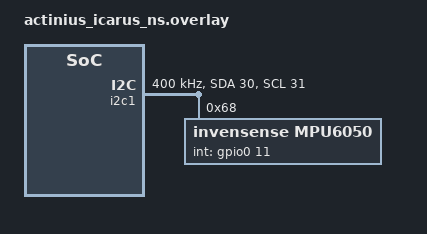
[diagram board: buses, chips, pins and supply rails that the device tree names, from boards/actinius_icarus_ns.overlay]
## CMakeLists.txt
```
#
# Copyright (c) 2018 Nordic Semiconductor
#
# SPDX-License-Identifier: LicenseRef-Nordic-5-Clause
#

cmake_minimum_required(VERSION 3.13.1)

set(spm_DTC_OVERLAY_FILE "${CMAKE_CURRENT_SOURCE_DIR}/spm.overlay")

find_package(Zephyr REQUIRED HINTS $ENV{ZEPHYR_BASE})
project(lwm2m_client)
zephyr_compile_definitions(PROJECT_NAME=${PROJECT_NAME})

# NORDIC SDK APP START
target_sources(app PRIVATE src/main.c)
target_sources(app PRIVATE src/settings.c)
zephyr_include_directories(src)
# NORDIC SDK APP END

# Include application events and configuration headers
zephyr_library_include_directories(
  src/lwm2m
  src/ui
  )

# Application sources
add_subdirectory(src/lwm2m)
add_subdirectory(src/ui)
```

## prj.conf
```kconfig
# General config
CONFIG_NEWLIB_LIBC=y
CONFIG_ASSERT=y
CONFIG_REBOOT=y

# Network
CONFIG_NETWORKING=y
CONFIG_NET_NATIVE=n
CONFIG_NET_IPV6=n
CONFIG_NET_IPV4=y
CONFIG_NET_SOCKETS=y
CONFIG_NET_SOCKETS_OFFLOAD=y

# LwM2M
CONFIG_LWM2M=y
CONFIG_LWM2M_DNS_SUPPORT=y
CONFIG_LWM2M_RW_JSON_SUPPORT=n
CONFIG_LWM2M_SERVER_DEFAULT_PMIN=1
CONFIG_LWM2M_SERVER_DEFAULT_PMAX=300
CONFIG_LWM2M_CONN_MON_OBJ_SUPPORT=y
CONFIG_LWM2M_CONN_MON_BEARER_MAX=2
CONFIG_LWM2M_FIRMWARE_UPDATE_OBJ_SUPPORT=y
CONFIG_LWM2M_LOCATION_OBJ_SUPPORT=y
CONFIG_LWM2M_IPSO_SUPPORT=y
CONFIG_LWM2M_IPSO_TEMP_SENSOR=y
CONFIG_LWM2M_IPSO_LIGHT_CONTROL=y
CONFIG_LWM2M_IPSO_BUZZER=y
CONFIG_LWM2M_IPSO_ONOFF_SWITCH=y
CONFIG_LWM2M_IPSO_ONOFF_SWITCH_INSTANCE_COUNT=2
CONFIG_LWM2M_IPSO_PUSH_BUTTON=y
CONFIG_LWM2M_IPSO_PUSH_BUTTON_INSTANCE_COUNT=2
CONFIG_LWM2M_IPSO_ACCELEROMETER=y
CONFIG_LWM2M_IPSO_TIMESTAMP_EXTENSIONS=y

# DTLS settings
CONFIG_LWM2M_DTLS_SUPPORT=n
CONFIG_LWM2M_PEER_PORT=5683

# nRF9160 helper libraries
CONFIG_MODEM_KEY_MGMT=y

# Default app to debug logging
CONFIG_LOG=y
CONFIG_APP_LOG_LEVEL_DBG=y

# Expand logging memory to avoid log_strdup() errors
CONFIG_LOG_STRDUP_MAX_STRING=64
CONFIG_LOG_STRDUP_BUF_COUNT=32

# Support HEX style PSK values (double the size + NULL char)
CONFIG_LWM2M_SECURITY_KEY_SIZE=33

# extend CoAP retry timing to 10 seconds for LTE/LTE-M
CONFIG_COAP_INIT_ACK_TIMEOUT_MS=10000

# Enable CoAP extended option length
CONFIG_COAP_EXTENDED_OPTIONS_LEN=y
CONFIG_COAP_EXTENDED_OPTIONS_LEN_VALUE=40

# UI settings
CONFIG_UI_BUTTON=n
CONFIG_UI_BUZZER=n

# FOTA
CONFIG_DFU_TARGET=y
CONFIG_BOOTLOADER_MCUBOOT=y
CONFIG_IMG_MANAGER=y
CONFIG_MCUBOOT_IMG_MANAGER=y
CONFIG_IMG_ERASE_PROGRESSIVELY=y
CONFIG_FLASH=y
CONFIG_MPU_ALLOW_FLASH_WRITE=y

# Enable temp sensor
CONFIG_SENSOR=n
# TODO: No DIE temp sensor on nRF9150, select a temp sensor?
# CONFIG_TEMP_NRF5=y

# Enable settings storage
CONFIG_SETTINGS=y
CONFIG_FCB=y
CONFIG_SETTINGS_FCB=y

# LTE link control
CONFIG_LTE_LINK_CONTROL=y
CONFIG_LTE_AUTO_INIT_AND_CONNECT=n
CONFIG_LTE_NETWORK_MODE_NBIOT=y
#CONFIG_LTE_NETWORK_MODE_LTE_M=y
#CONFIG_LTE_NETWORK_MODE_NBIOT_GPS=y
#CONFIG_LTE_NETWORK_MODE_LTE_M_GPS=y
CONFIG_LTE_NETWORK_USE_FALLBACK=y
CONFIG_LTE_NETWORK_TIMEOUT=600
CONFIG_LTE_PDP_CMD=y
CONFIG_LTE_PDP_CONTEXT="0,\"IP\",\"m2m.tag.com\""
CONFIG_LTE_LEGACY_PCO_MODE=y

# Modem library
CONFIG_NRF_MODEM_LIB=y

# Modem info
CONFIG_MODEM_INFO=y
CONFIG_MODEM_INFO_ADD_DATE_TIME=n

# Library for buttons and LEDs
CONFIG_DK_LIBRARY=y
CONFIG_DK_LIBRARY_INVERT_LEDS=n

# Enable shell
CONFIG_NET_SHELL=y

# Heap and stacks
CONFIG_HEAP_MEM_POOL_SIZE=16384
CONFIG_MAIN_STACK_SIZE=8192
CONFIG_SYSTEM_WORKQUEUE_STACK_SIZE=4096

# Temporarily disable CC310 entropy driver
CONFIG_ENTROPY_CC3XX=n
CONFIG_TEST_RANDOM_GENERATOR=y

##############################################

#Cumulocity Staging w/o SEC
CONFIG_APP_LWM2M_SERVER="lwm2m-s1.iotstg.a1.digital"
CONFIG_LWM2M_PEER_PORT=5783
CONFIG_LWM2M_ENGINE_DEFAULT_LIFETIME=30

#MPU6050
CONFIG_SENSOR=y
CONFIG_MPU6050=y
CONFIG_MPU6050_TRIGGER_NONE=y
CONFIG_SENSOR_LOG_LEVEL_WRN=y
CONFIG_I2C_1=y
CONFIG_I2C=y

#DSP
CONFIG_CMSIS_DSP=y
CONFIG_CMSIS_DSP_TABLES_ALL_FFT=y
CONFIG_CMSIS_DSP_TRANSFORM=y
CONFIG_CMSIS_DSP_STATISTICS=y
CONFIG_CMSIS_DSP_COMPLEXMATH=y
CONFIG_FPU=y

#PRINT FLOAT
CONFIG_NEWLIB_LIBC_FLOAT_PRINTF=y

#GPIO
CONFIG_GPIO=y

#Timers
#CONFIG_NRFX_TIMER0=y
#CONFIG_NRFX_TIMER1=y
```

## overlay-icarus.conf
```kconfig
#Icarus SIM select
CONFIG_BOARD_SELECT_SIM_EXTERNAL=y
```

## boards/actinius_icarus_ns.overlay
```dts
&i2c2 {
	status = "disabled";
};
&i2c1 {
	compatible = "nordic,nrf-twim";
	status = "okay";
	sda-pin = <30>;                
    scl-pin = <31>;
	clock-frequency = <400000>;
	mpu6050@68 {
		compatible = "invensense,mpu6050";
		reg = <0x68>;
		status = "okay";
		label = "MPU6050";
		int-gpios = <&gpio0 11 GPIO_ACTIVE_HIGH>;
	};
};
&uart1 {
	status = "disabled";
};
```

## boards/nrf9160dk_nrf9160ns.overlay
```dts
&i2c1 {
	compatible = "nordic,nrf-twim";
	status = "okay";
	sda-pin = <0>;                
    scl-pin = <1>;
	clock-frequency = <100000>;
	mpu6050@68 {
		compatible = "invensense,mpu6050";
		reg = <0x68>;
		status = "okay";
		label = "MPU6050";
		int-gpios = <&gpio0 11 GPIO_ACTIVE_HIGH>;
	};
};
```

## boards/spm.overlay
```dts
&uart1 {
	status = "disabled";
};
```

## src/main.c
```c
/*
 * Copyright (c) 2019 Nordic Semiconductor ASA
 *
 * SPDX-License-Identifier: LicenseRef-Nordic-5-Clause
 */

#include <zephyr.h>
#include <ctype.h>
#include <drivers/gpio.h>
#include <stdio.h>
#include <net/lwm2m.h>
#include <modem/nrf_modem_lib.h>
#include <settings/settings.h>

#include <logging/log.h>
LOG_MODULE_REGISTER(app_lwm2m_client, CONFIG_APP_LOG_LEVEL);

#include <modem/at_cmd.h>
#include <modem/lte_lc.h>

#if defined(CONFIG_LWM2M_DTLS_SUPPORT)
#if defined(CONFIG_MODEM_KEY_MGMT)
#include <modem/modem_key_mgmt.h>
#endif
#endif

#include "ui.h"
#include "lwm2m_client.h"
#include "settings.h"

#if defined (CONFIG_MPU6050)
/*Fill Level*/
#include "algorithm.h"
/*new thread*/
#define MT_THREAD_STACK_SIZE 4096
#define MT_PRIORITY 5
K_THREAD_STACK_DEFINE(mt_stack_area, MT_THREAD_STACK_SIZE);
static struct k_work_q mt_work_q;
#endif

#if !defined(CONFIG_LTE_LINK_CONTROL)
#error "Missing CONFIG_LTE_LINK_CONTROL"
#endif

BUILD_ASSERT(sizeof(CONFIG_APP_LWM2M_SERVER) > 1,
		 "CONFIG_APP_LWM2M_SERVER must be set in prj.conf");

#define APP_BANNER "Run LWM2M client"

#define IMEI_LEN		15
#define ENDPOINT_NAME_LEN	(IMEI_LEN + 8)

#define LWM2M_SECURITY_PRE_SHARED_KEY 0
#define LWM2M_SECURITY_RAW_PUBLIC_KEY 1
#define LWM2M_SECURITY_CERTIFICATE 2
#define LWM2M_SECURITY_NO_SEC 3

static uint8_t endpoint_name[ENDPOINT_NAME_LEN+1];
static uint8_t imei_buf[IMEI_LEN + 5]; /* account for /n/r */
static struct lwm2m_ctx client;

#if defined(CONFIG_LWM2M_DTLS_SUPPORT)
#include "config.h"
#endif /* CONFIG_LWM2M_DTLS_SUPPORT */

static struct k_sem lwm2m_restart;

static void rd_client_event(struct lwm2m_ctx *client,
			    enum lwm2m_rd_client_event client_event);

void client_acknowledge(void)
{
	lwm2m_acknowledge(&client);
}

/**@brief User interface event handler. */
static void ui_evt_handler(struct ui_evt *evt)
{
	if (!evt) {
		return;
	}

	LOG_DBG("Event: %d", evt->button);

#if defined(CONFIG_UI_BUTTON)
	if (handle_button_events(evt) == 0) {
		return;
	}
#endif
#if defined(CONFIG_LWM2M_IPSO_ACCELEROMETER) && CONFIG_FLIP_INPUT > 0
	if (handle_accel_events(evt) == 0) {
		return;
	}
#endif
}

static int remove_whitespace(char *buf)
{
	size_t i, j = 0, len;

	len = strlen(buf);
	for (i = 0; i < len; i++) {
		if (buf[i] >= 32 && buf[i] <= 126) {
			if (j != i) {
				buf[j] = buf[i];
			}

			j++;
		}
	}

	if (j < len) {
		buf[j] = '\0';
	}

	return 0;
}

static int query_modem(const char *cmd, char *buf, size_t buf_len)
{
	int ret;
	enum at_cmd_state at_state;

	ret = at_cmd_write(cmd, buf, buf_len, &at_state);
	if (ret) {
		LOG_ERR("at_cmd_write [%s] error:%d, at_state: %d",
			cmd, ret, at_state);
		strncpy(buf, "error", buf_len);
		return ret;
	}

	remove_whitespace(buf);
	return 0;
}

static int lwm2m_setup(void)
{
	/* use IMEI as serial number */
	lwm2m_init_device(imei_buf);
	lwm2m_init_security(&client, endpoint_name);
#if defined(CONFIG_LWM2M_LOCATION_OBJ_SUPPORT)
	lwm2m_init_location();
#endif
#if defined(CONFIG_LWM2M_FIRMWARE_UPDATE_OBJ_SUPPORT)
	lwm2m_init_firmware();
#endif
#if defined(CONFIG_LWM2M_CONN_MON_OBJ_SUPPORT)
	lwm2m_init_connmon();
#endif
#if defined(CONFIG_LWM2M_IPSO_LIGHT_CONTROL)
	lwm2m_init_light_control();
#endif
#if defined(CONFIG_LWM2M_IPSO_TEMP_SENSOR)
	lwm2m_init_temp();
#endif
#if defined(CONFIG_UI_BUZZER)
	lwm2m_init_buzzer();
#endif
#if defined(CONFIG_UI_BUTTON)
	lwm2m_init_button();
#endif
#if defined(CONFIG_LWM2M_IPSO_ACCELEROMETER)
	lwm2m_init_accel();
#endif
	return 0;
}

int lwm2m_security_index_to_inst_id(int index);

static int find_server_security_instance(void)
{
	char pathstr[10];
	bool bootstrap;
	int i;
	int instance;
	int ret;

	for (i = 0; i < CONFIG_LWM2M_SECURITY_INSTANCE_COUNT; i++) {
		instance = lwm2m_security_index_to_inst_id(i);
		if (instance < 0) {
			LOG_DBG("Empty instance at index %d", i);
			continue;
		}

		snprintk(pathstr, sizeof(pathstr), "0/%d/1", instance);

		ret = lwm2m_engine_get_bool(pathstr, &bootstrap);
		if (ret < 0) {
			LOG_ERR("Failed to check bootstrap, err %d", ret);
			continue;
		}

		if (!bootstrap) {
			LOG_DBG("Security instance found, %d", instance);
			return instance;
		}
	}

	return -1;
}

static int get_security_mode(int instance)
{
	char pathstr[10];
	uint8_t security_mode;
	int ret;

	snprintk(pathstr, sizeof(pathstr), "0/%d/2", instance);

	ret = lwm2m_engine_get_u8(pathstr, &security_mode);
	if (ret < 0) {
		LOG_ERR("Failed to obtain security mode, err %d", ret);
		return -1;
	}

	return security_mode;
}

#if defined(CONFIG_LWM2M_DTLS_SUPPORT)
static void provision_psk(int instance)
{
	char pathstr[10];
	char psk_hex[64];
	int ret;
	uint8_t *identity;
	uint16_t identity_len;
	uint8_t *psk;
	uint16_t psk_len;
	uint8_t flags;


	/* Obtain identity. */
	snprintk(pathstr, sizeof(pathstr), "0/%d/3", instance);

	ret = lwm2m_engine_get_res_data(pathstr, (void **)&identity,
					&identity_len, &flags);
	if (ret < 0) {
		LOG_ERR("Failed to obtain client identity.");
		return;
	}

	/* Obtain PSK. */
	snprintk(pathstr, sizeof(pathstr), "0/%d/5", instance);

	ret = lwm2m_engine_get_res_data(pathstr, (void **)&psk,
					&psk_len, &flags);
	if (ret < 0) {
		LOG_ERR("Failed to obtain PSK.");
		return;
	}

	/* Convert PSK to a format accepted by the modem. */
	psk_len = bin2hex(psk, psk_len, psk_hex, sizeof(psk_hex));
	if (psk_len == 0) {
		LOG_ERR("PSK is too large to convert.");
		return;
	}

	lwm2m_rd_client_stop(&client, rd_client_event);
	lte_lc_offline();

	ret = modem_key_mgmt_write(client.tls_tag,
				   MODEM_KEY_MGMT_CRED_TYPE_PSK,
				   psk_hex, psk_len);
	if (ret < 0) {
		LOG_ERR("Error setting cred tag %d type %d: Error %d",
			client.tls_tag, MODEM_KEY_MGMT_CRED_TYPE_PSK,
			ret);
		goto exit;
	}

	ret = modem_key_mgmt_write(client.tls_tag,
				   MODEM_KEY_MGMT_CRED_TYPE_IDENTITY,
				   identity, identity_len);
	if (ret < 0) {
		LOG_ERR("Error setting cred tag %d type %d: Error %d",
			client.tls_tag, MODEM_KEY_MGMT_CRED_TYPE_IDENTITY,
			ret);
	}

exit:
	lte_lc_connect();
	lwm2m_rd_client_start(&client, endpoint_name, false, rd_client_event);
}
#endif

static void provision_credentials(void)
{
	int security_instance;
	int security_mode;

	security_instance = find_server_security_instance();
	if (security_instance == -1) {
		LOG_ERR("No security instance found");
		return;
	}

	security_mode = get_security_mode(security_instance);
	if (security_mode == -1) {
		return;
	}

	switch (security_mode) {
#if defined(CONFIG_LWM2M_DTLS_SUPPORT)
	case LWM2M_SECURITY_PRE_SHARED_KEY:
		LOG_DBG("PSK mode, provisioning key and identity.");
		client.tls_tag = SERVER_TLS_TAG;
		provision_psk(security_instance);
		break;
#endif

	case LWM2M_SECURITY_NO_SEC:
		LOG_DBG("NoSec mode, no provisioning needed.");
		break;

	default:
		LOG_ERR("Unsupported security mode");
		break;
	}
}

static void rd_client_event(struct lwm2m_ctx *client,
			    enum lwm2m_rd_client_event client_event)
{
	switch (client_event) {

	case LWM2M_RD_CLIENT_EVENT_NONE:
		/* do nothing */
		break;

	case LWM2M_RD_CLIENT_EVENT_BOOTSTRAP_REG_FAILURE:
		LOG_DBG("Bootstrap registration failure!");
		break;

	case LWM2M_RD_CLIENT_EVENT_BOOTSTRAP_REG_COMPLETE:
		LOG_DBG("Bootstrap registration complete");
		break;

	case LWM2M_RD_CLIENT_EVENT_BOOTSTRAP_TRANSFER_COMPLETE:
		LOG_DBG("Bootstrap transfer complete");
		LOG_DBG("Boostrap finished, provisioning credentials.");
		provision_credentials();
		break;

	case LWM2M_RD_CLIENT_EVENT_REGISTRATION_FAILURE:
		LOG_DBG("Registration failure!");
		break;

	case LWM2M_RD_CLIENT_EVENT_REGISTRATION_COMPLETE:
		LOG_DBG("Registration complete");
		break;

	case LWM2M_RD_CLIENT_EVENT_REG_UPDATE_FAILURE:
		LOG_DBG("Registration update failure!");
		break;

	case LWM2M_RD_CLIENT_EVENT_REG_UPDATE_COMPLETE:
		LOG_DBG("Registration update complete");
		break;

	case LWM2M_RD_CLIENT_EVENT_DEREGISTER_FAILURE:
		LOG_DBG("Deregister failure!");
		break;

	case LWM2M_RD_CLIENT_EVENT_DISCONNECT:
		LOG_DBG("Disconnected");
		break;

	case LWM2M_RD_CLIENT_EVENT_QUEUE_MODE_RX_OFF:
		LOG_DBG("Queue mode RX window closed");
		break;

	case LWM2M_RD_CLIENT_EVENT_NETWORK_ERROR:
		LOG_ERR("LwM2M engine reported a network error.");
		k_sem_give(&lwm2m_restart);
		break;
	}
}

static void modem_connect(void)
{
	int ret;

#if defined(CONFIG_LWM2M_QUEUE_MODE_ENABLED)
	ret = lte_lc_psm_req(true);
	if (ret < 0) {
		LOG_ERR("lte_lc_psm_req, error: (%d)", ret);
	} else {
		LOG_INF("PSM mode requested");
	}
#endif

	do {
		LOG_INF("Connecting to LTE network.");
		LOG_INF("This may take several minutes.");
		ui_led_set_pattern(UI_LTE_CONNECTING);

		ret = lte_lc_connect();
		if (ret < 0) {
			LOG_WRN("Failed to establish LTE connection (%d).",
				ret);
			LOG_WRN("Will retry in a minute.");
			lte_lc_offline();
			k_sleep(K_SECONDS(60));
		} else {
			LOG_INF("Connected to LTE network");
			ui_led_set_pattern(UI_LTE_CONNECTED);
		}
	} while (ret < 0);
}

void main(void)
{
	uint32_t flags = IS_ENABLED(CONFIG_LWM2M_RD_CLIENT_SUPPORT_BOOTSTRAP) ?
				    LWM2M_RD_CLIENT_FLAG_BOOTSTRAP : 0;
	int ret;

	LOG_INF(APP_BANNER);

	k_sem_init(&lwm2m_restart, 0, 1);

	ui_init(ui_evt_handler);
	
#if defined(CONFIG_MPU6050)
	/*Init work queue for MT Algorithm*/
	k_work_q_start(&mt_work_q, mt_stack_area,
               K_THREAD_STACK_SIZEOF(mt_stack_area), MT_PRIORITY);
	/*call algorithm in workqueue*/
	algorithm_init(&mt_work_q);
#endif

	ret = fota_settings_init();
	if (ret < 0) {
		LOG_ERR("Unable to init settings (%d)", ret);
		return;
	}

	/* Load *all* persistent settings */
	settings_load();

#if defined(CONFIG_LWM2M_FIRMWARE_UPDATE_OBJ_SUPPORT)
	/* Modem FW update needs to be verified before modem is used. */
	lwm2m_verify_modem_fw_update();
#endif

	LOG_INF("Initializing modem.");
	ret = lte_lc_init();
	if (ret < 0) {
		LOG_ERR("Unable to init modem (%d)", ret);
		return;
	}

	/* query IMEI */
	query_modem("AT+CGSN", imei_buf, sizeof(imei_buf));
	/* use IMEI as unique endpoint name */
	snprintf(endpoint_name, sizeof(endpoint_name), "nrf-%s", imei_buf);
	LOG_INF("endpoint: %s", log_strdup(endpoint_name));

	/* Setup LwM2M */
	(void)memset(&client, 0x0, sizeof(client));

	ret = lwm2m_setup();
	if (ret < 0) {
		LOG_ERR("Cannot setup LWM2M fields (%d)", ret);
		return;
	}

	ret = lwm2m_init_image();
	if (ret < 0) {
		LOG_ERR("Failed to setup image properties (%d)", ret);
		return;
	}

#if defined(CONFIG_LWM2M_DTLS_SUPPORT)
	ret = modem_key_mgmt_write(client.tls_tag,
				   MODEM_KEY_MGMT_CRED_TYPE_PSK,
				   client_psk, strlen(client_psk));
	if (ret < 0) {
		LOG_ERR("Error setting cred tag %d type %d: Error %d",
			client.tls_tag, MODEM_KEY_MGMT_CRED_TYPE_PSK,
			ret);
	}

	ret = modem_key_mgmt_write(client.tls_tag,
				   MODEM_KEY_MGMT_CRED_TYPE_IDENTITY,
				   endpoint_name, strlen(endpoint_name));
	if (ret < 0) {
		LOG_ERR("Error setting cred tag %d type %d: Error %d",
			client.tls_tag, MODEM_KEY_MGMT_CRED_TYPE_IDENTITY,
			ret);
	}
#endif

	modem_connect();

#if defined(CONFIG_LWM2M_CONN_MON_OBJ_SUPPORT)
	ret = lwm2m_start_connmon();
	if (ret < 0) {
		LOG_ERR("Error registering rsrp handler (%d)", ret);
	}
#endif

	while (true) {
		lwm2m_rd_client_start(&client, endpoint_name, flags,
				      rd_client_event);

		k_sem_take(&lwm2m_restart, K_FOREVER);

		LOG_INF("LwM2M restart requested. The sample will try to"
			" re-establish network connection.");

		/* Stop the LwM2M engine. */
		lwm2m_rd_client_stop(&client, rd_client_event);

		/* Try to reconnect to the network. */
		ret = lte_lc_offline();
		if (ret < 0) {
			LOG_ERR("Failed to put LTE link in offline state. (%d)",
				ret);
		}

		modem_connect();
	}
}
```
